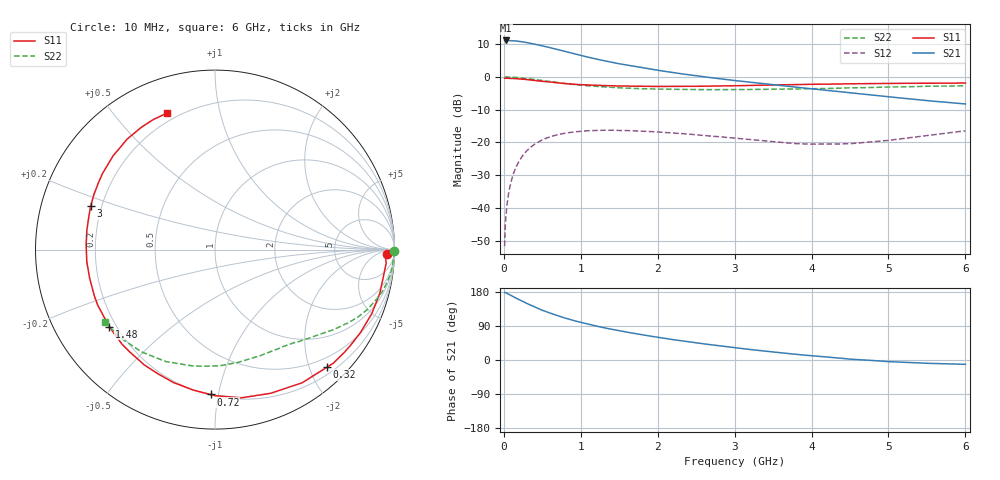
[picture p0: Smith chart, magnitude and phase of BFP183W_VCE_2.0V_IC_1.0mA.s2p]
! Infineon Technologies  Discrete & RF Semiconductors
! BFP183W
! VCE = 2.0 V,  IC =  1.0 mA
! Common Emitter S-Parameters:  Jan 2016
# GHz  S  MA  R  50
!  f  S11  S21  S12  S22
! GHz  MAG  ANG  MAG  ANG  MAG  ANG  MAG  ANG
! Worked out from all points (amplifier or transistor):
!   210 points, 10 MHz to 6 GHz, reference 50 ohm
!   highest |S21| = 11.1 dB at 30 MHz (marker M1)
!   |S21| within 3 dB of that: start of sweep to 736.6 MHz
!   unconditionally stable (mu >= 1): 2.689 GHz to end of sweep
!   at 185 MHz: K = 0.08, MSG = 18.6 dB, |S12| = -26.3 dB
!   at 1.52 GHz: K = 0.55, MSG = 10.2 dB, |S12| = -16.4 dB
!   at 6 GHz: K = 1.13, MAG = 1.9 dB, |S12| = -16.5 dB
!   S11 on the Smith chart (normalised r, x): 10 MHz: 33, -20; 320 MHz: 0.32, -2.30; 720 MHz: 0.20, -0.95; 1.48 GHz: 0.17, -0.32; 3 GHz: 0.16, +0.17; 6 GHz: 0.16, +0.70
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0.01  0.9566 -1.5  3.571 178.3  0.0026 91.8  0.9993 -0.6
0.02  0.9519 -2.9  3.599 178.1  0.0056 87.3  0.9975 -1.2
0.03  0.9569 -4.5  3.604 177.1  0.0082 86.6  0.9972 -1.7
0.07  0.9496 -10.5  3.586 172.8  0.0187 83.0  0.9938 -4.1
0.13  0.9443 -19.3  3.555 166.4  0.0346 77.5  0.987 -7.5
0.2  0.9331 -29.7  3.494 158.9  0.052 71.7  0.973 -11.4
0.32  0.9049 -46.3  3.305 147.3  0.0785 61.6  0.9389 -17.4
0.4  0.8868 -56.8  3.18 140.0  0.0938 55.7  0.9143 -21.2
0.5  0.8586 -68.8  2.992 131.3  0.1096 49.1  0.8811 -25.2
0.6  0.8388 -79.9  2.798 123.8  0.1218 42.8  0.8476 -28.7
0.72  0.8076 -91.7  2.583 115.5  0.1328 36.4  0.8131 -32.2
0.9  0.7757 -107.4  2.282 104.4  0.1442 28.2  0.7673 -37.0
1.02  0.7589 -116.1  2.097 98.3  0.1484 23.5  0.7445 -39.8
1.2  0.7438 -128.4  1.875 89.5  0.1527 17.3  0.717 -43.7
1.48  0.7279 -143.9  1.604 78.2  0.1523 10.3  0.6837 -49.1
2.02  0.716 -168.0  1.253 59.4  0.1438 1.3  0.6515 -59.0
2.4  0.7186 178.4  1.079 48.1  0.1339 -3.0  0.6428 -66.5
3  0.7339 160.8  0.881 32.4  0.1159 -4.6  0.6414 -78.5
3.1  0.7367 158.1  0.856 30.1  0.1131 -4.1  0.6415 -80.6
4.1  0.773 135.6  0.641 9.6  0.0941 9.9  0.6619 -103.8
5.1  0.7965 119.7  0.484 -5.1  0.1111 29.0  0.7032 -128.0
6  0.806 109.4  0.386 -11.4  0.1502 34.8  0.734 -146.5
